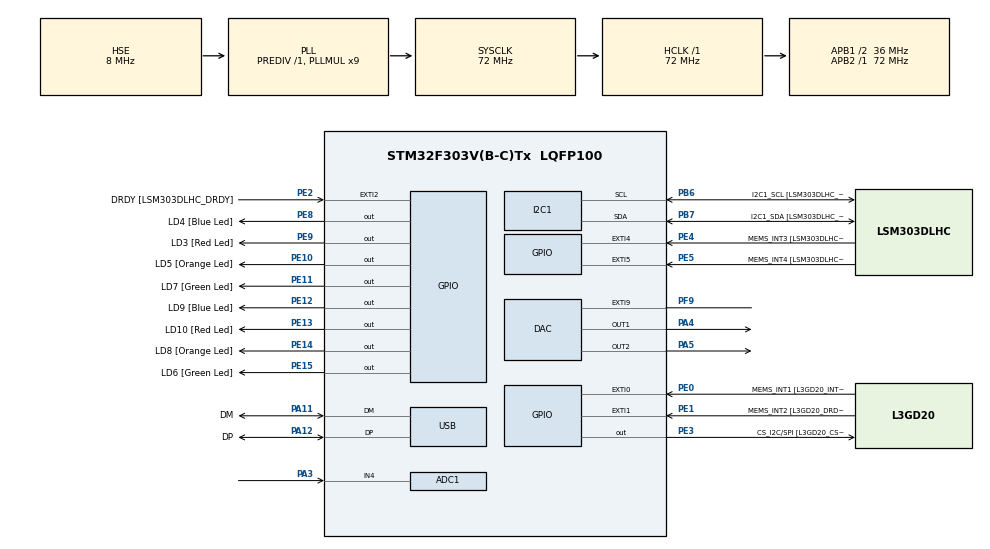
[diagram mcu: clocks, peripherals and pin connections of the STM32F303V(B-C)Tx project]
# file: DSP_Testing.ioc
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ADC1.Channel-9\#ChannelRegularConversion=ADC_CHANNEL_4
ADC1.ContinuousConvMode=DISABLE
ADC1.DMAContinuousRequests=ENABLE
ADC1.EnableAnalogWatchDog1=false
ADC1.EnableInjectedConversion=DISABLE
ADC1.ExternalTrigConv=ADC_EXTERNALTRIGCONV_T6_TRGO
ADC1.NbrOfConversion=1
ADC1.NbrOfConversionFlag=1
ADC1.Offset-9\#ChannelRegularConversion=0
ADC1.OffsetNumber-9\#ChannelRegularConversion=ADC_OFFSET_NONE
ADC1.Overrun=ADC_OVR_DATA_OVERWRITTEN
ADC1.Rank-9\#ChannelRegularConversion=1
ADC1.SamplingTime-9\#ChannelRegularConversion=ADC_SAMPLETIME_1CYCLE_5
ADC1.master=1
DAC.DAC_OutputBuffer2=DAC_OUTPUTBUFFER_DISABLE
DAC.DAC_Trigger=DAC_TRIGGER_T6_TRGO
DAC.DAC_Trigger2=DAC_TRIGGER_T6_TRGO
DAC.WaveGeneration=DISABLE
Dma.ADC1.0.Direction=DMA_PERIPH_TO_MEMORY
Dma.ADC1.0.Instance=DMA1_Channel1
Dma.ADC1.0.MemDataAlignment=DMA_MDATAALIGN_WORD
Dma.ADC1.0.MemInc=DMA_MINC_ENABLE
Dma.ADC1.0.Mode=DMA_CIRCULAR
Dma.ADC1.0.PeriphDataAlignment=DMA_PDATAALIGN_WORD
Dma.ADC1.0.PeriphInc=DMA_PINC_DISABLE
Dma.ADC1.0.Priority=DMA_PRIORITY_HIGH
Dma.DAC_CH1.1.Direction=DMA_MEMORY_TO_PERIPH
Dma.DAC_CH1.1.Instance=DMA1_Channel3
Dma.DAC_CH1.1.MemDataAlignment=DMA_MDATAALIGN_WORD
Dma.DAC_CH1.1.MemInc=DMA_MINC_ENABLE
Dma.DAC_CH1.1.Mode=DMA_CIRCULAR
Dma.DAC_CH1.1.PeriphDataAlignment=DMA_PDATAALIGN_WORD
Dma.DAC_CH1.1.PeriphInc=DMA_PINC_DISABLE
Dma.DAC_CH1.1.Priority=DMA_PRIORITY_HIGH
Dma.DAC_CH2.2.Direction=DMA_MEMORY_TO_PERIPH
Dma.DAC_CH2.2.Instance=DMA1_Channel4
Dma.DAC_CH2.2.MemDataAlignment=DMA_MDATAALIGN_WORD
Dma.DAC_CH2.2.MemInc=DMA_MINC_ENABLE
Dma.DAC_CH2.2.Mode=DMA_CIRCULAR
Dma.DAC_CH2.2.PeriphDataAlignment=DMA_PDATAALIGN_WORD
Dma.DAC_CH2.2.PeriphInc=DMA_PINC_DISABLE
Dma.DAC_CH2.2.Priority=DMA_PRIORITY_HIGH
Dma.Request0=ADC1
Dma.Request1=DAC_CH1
Dma.Request2=DAC_CH2
I2C1.Timing=0x00201D2B
I2C1.Timing-I2C=0x2000090E
Mcu.Family=STM32F3
Mcu.Name=STM32F303V(B-C)Tx
Mcu.Package=LQFP100
NVIC.DMA1_Channel1_IRQn=true\:0\:0\:false\:false\:true\:false\:true\:true
NVIC.DMA1_Channel3_IRQn=true\:0\:0\:false\:false\:true\:false\:true\:true
NVIC.DMA1_Channel4_IRQn=true\:0\:0\:false\:false\:true\:false\:true\:true
NVIC.PriorityGroup=NVIC_PRIORITYGROUP_0
PA11.GPIO_Label=DM
PA11.Mode=Device
PA11.Signal=USB_DM
PA12.GPIO_Label=DP
PA12.Mode=Device
PA12.Signal=USB_DP
PA13.GPIO_Label=SWDIO
PA13.Mode=Serial_Wire
PA13.Signal=SYS_JTMS-SWDIO
PA14.GPIO_Label=SWCLK
PA14.Mode=Serial_Wire
PA14.Signal=SYS_JTCK-SWCLK
PA3.Mode=IN4-Single-Ended
PA3.Signal=ADC1_IN4
PA4.Signal=COMP_DAC1_group
PA5.Signal=COMP_DAC2_group
PA7.GPIO_Label=SPI1_MISO [L3GD20_SDA/SDI/SDO]
PA7.Signal=SPI1_MOSI
PB3.GPIO_Label=SWO
PB3.Signal=SYS_JTDO-TRACESWO
PB6.GPIO_Label=I2C1_SCL [LSM303DLHC_SCL]
PB6.GPIO_Pu=GPIO_PULLUP
PB6.Mode=I2C
PB6.Signal=I2C1_SCL
PB7.GPIO_Label=I2C1_SDA [LSM303DLHC_SDA]
PB7.GPIO_Pu=GPIO_PULLUP
PB7.Mode=I2C
PB7.Signal=I2C1_SDA
PC14-OSC32_IN.Mode=LSE-External-Oscillator
PC14-OSC32_IN.Signal=RCC_OSC32_IN
PC15-OSC32_OUT.GPIO_Label=OSC32_OUT
PC15-OSC32_OUT.Mode=LSE-External-Oscillator
PC15-OSC32_OUT.Signal=RCC_OSC32_OUT
PE0.GPIO_Label=MEMS_INT1 [L3GD20_INT1]
PE0.GPIO_ModeDefaultEXTI=GPIO_MODE_EVT_RISING
PE0.Signal=GPXTI0
PE1.GPIO_Label=MEMS_INT2 [L3GD20_DRDY/INT2]
PE1.GPIO_ModeDefaultEXTI=GPIO_MODE_EVT_RISING
PE1.Signal=GPXTI1
PE10.GPIO_Label=LD5 [Orange Led]
PE10.Signal=GPIO_Output
PE11.GPIO_Label=LD7 [Green Led]
PE11.Signal=GPIO_Output
PE12.GPIO_Label=LD9 [Blue Led]
PE12.Signal=GPIO_Output
PE13.GPIO_Label=LD10 [Red Led]
PE13.Signal=GPIO_Output
PE14.GPIO_Label=LD8 [Orange Led]
PE14.Signal=GPIO_Output
PE15.GPIO_Label=LD6 [Green Led]
PE15.Signal=GPIO_Output
PE2.GPIO_Label=DRDY [LSM303DLHC_DRDY]
PE2.GPIO_ModeDefaultEXTI=GPIO_MODE_EVT_RISING
PE2.Signal=GPXTI2
PE3.GPIO_Label=CS_I2C/SPI [L3GD20_CS_I2C/SPI]
PE3.Signal=GPIO_Output
PE4.GPIO_Label=MEMS_INT3 [LSM303DLHC_INT1]
PE4.GPIO_ModeDefaultEXTI=GPIO_MODE_EVT_RISING
PE4.Signal=GPXTI4
PE5.GPIO_Label=MEMS_INT4 [LSM303DLHC_INT2]
PE5.GPIO_ModeDefaultEXTI=GPIO_MODE_EVT_RISING
PE5.Signal=GPXTI5
PE8.GPIO_Label=LD4 [Blue Led]
PE8.Signal=GPIO_Output
PE9.GPIO_Label=LD3 [Red Led]
PE9.Signal=GPIO_Output
PF0-OSC_IN.GPIO_Label=OSC_IN
PF0-OSC_IN.Mode=HSE-External-Clock-Source
PF0-OSC_IN.Signal=RCC_OSC_IN
PF1-OSC_OUT.GPIO_Label=OSC_OUT
PF1-OSC_OUT.Signal=RCC_OSC_OUT
PF9.Signal=GPXTI9
ProjectManager.HeapSize=0x200
ProjectManager.StackSize=0x400
ProjectManager.TargetToolchain=STM32CubeIDE
RCC.AHBFreq_Value=72000000
RCC.APB1CLKDivider=RCC_HCLK_DIV2
RCC.APB1Freq_Value=36000000
RCC.APB1TimFreq_Value=72000000
RCC.APB2Freq_Value=72000000
RCC.APB2TimFreq_Value=72000000
RCC.CortexFreq_Value=72000000
RCC.HCLKFreq_Value=72000000
RCC.HSE_VALUE=8000000
RCC.HSI_VALUE=8000000
RCC.PLLMUL=RCC_PLL_MUL9
RCC.PRESCALERUSB=RCC_USBCLKSOURCE_PLL_DIV1_5
RCC.SYSCLKFreq_VALUE=72000000
RCC.SYSCLKSourceVirtual=RCC_SYSCLKSOURCE_PLLCLK
RCC.USBFreq_Value=48000000
SH.COMP_DAC1_group.0=DAC_OUT1,DAC_OUT1
SH.COMP_DAC2_group.0=DAC_OUT2,Enable_DAC_OUT2
STMicroelectronics.X-CUBE-ALGOBUILD.1.4.0.LibraryCcDSPOoLibraryJjDSPOoLibrary=true
TIM6.Period=3999
TIM6.TIM_MasterOutputTrigger=TIM_TRGO_UPDATE
VP_STMicroelectronics.X-CUBE-ALGOBUILD_VS_DSPOoLibraryJjLibrary_1.4.0_1.4.0.Mode=DSPOoLibraryJjLibrary
VP_TIM6_VS_ClockSourceINT.Mode=Enable_Timer
board=STM32F3DISCOVERY

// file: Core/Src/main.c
/* USER CODE BEGIN Header */
/**
  ******************************************************************************
  * @file           : main.c
  * @brief          : Main program body
  ******************************************************************************
  * @attention
  *
  * Copyright (c) 2024 STMicroelectronics.
  * All rights reserved.
  *
  * This software is licensed under terms that can be found in the LICENSE file
  * in the root directory of this software component.
  * If no LICENSE file comes with this software, it is provided AS-IS.
  *
  ******************************************************************************
  */
/* USER CODE END Header */
#include "main.h"
#include "adc.h"
#include "dac.h"
#include "dma.h"
#include "i2c.h"
#include "tim.h"
#include "usb.h"
#include "gpio.h"

/* USER CODE BEGIN Includes */
#include "EMA.h"
#include "notch.h"
#include "IIR.h"

/* USER CODE END Includes */

/* USER CODE BEGIN PV */
// # samples per data block(half buffer)
#define DATASIZE 128
// full buffer size
#define BUFFERSIZE DATASIZE * 2

//BUFFERS
uint32_t adc_vals[BUFFERSIZE]; //adc buffer
uint32_t alpha_vals[BUFFERSIZE]; //alpha buffer
uint32_t beta_vals[BUFFERSIZE]; //beta buffer
uint32_t gamma_vals[BUFFERSIZE]; //gamma buffer
uint8_t data_ready;

//debug signals
uint16_t check;

// pointers to the half of the buffer being processed
static volatile uint32_t* input_buffer_ptr;
static volatile uint32_t* alpha_buffer_ptr = &alpha_vals[0];
static volatile uint32_t* beta_buffer_ptr = &beta_vals[0];
static volatile uint32_t* gamma_buffer_ptr = &gamma_vals[0];

IIR1 high_8_1;
IIR1 high_8_2;
IIR1 high_8_3;

IIR1 low_12_1;
IIR1 low_12_2;
IIR1 low_12_3;

IIR2 high_12_1;
IIR2 high_12_2;

IIR2 low_30_1;
IIR2 low_30_2;

IIR2 high_30_1;
IIR2 high_30_2;

IIR2 low_100_1;
IIR2 low_100_2;

/* USER CODE END PV */

void SystemClock_Config(void);

/* USER CODE BEGIN 0 */

void HAL_ADC_ConvHalfCpltCallback(ADC_HandleTypeDef* hadc)
{
	input_buffer_ptr = &adc_vals[0];

	alpha_buffer_ptr = &alpha_vals[0];
	beta_buffer_ptr = &beta_vals[0];
	gamma_buffer_ptr = &gamma_vals[0];

	data_ready = 1;
}

void HAL_ADC_ConvCpltCallback(ADC_HandleTypeDef* hadc)
{
	input_buffer_ptr = &adc_vals[DATASIZE];

	alpha_buffer_ptr = &alpha_vals[DATASIZE];
	beta_buffer_ptr = &beta_vals[DATASIZE];
	gamma_buffer_ptr = &gamma_vals[DATASIZE];

	data_ready = 1;
}

void DSP(){

	float in8high;
	float out8high;

//	float in12low;
	float out12low;

	float in12high;
	float out12high;

//	float in30low;
	float out30low;

	float in30high;
	float out30high;

//	float in100low;
	float out100low;

	for(int i = 0; i < DATASIZE; i++){
		in8high = (float) (input_buffer_ptr[i]);
//		in12low = (float) (input_buffer_ptr[i]);
		in12high = (float) (input_buffer_ptr[i]);
//		in30low = (float) (input_buffer_ptr[i]);
		in30high = (float) (input_buffer_ptr[i]);
//		in100low = (float) (input_buffer_ptr[i]);

		out8high = IIR1_Update(&high_8_1, in8high);
		out8high = IIR1_Update(&high_8_2, out8high);
		out8high = IIR1_Update(&high_8_3, out8high) + 1500;

		out12low = IIR1_Update(&low_12_1, out8high);
		out12low = IIR1_Update(&low_12_2, out12low);
		out12low = IIR1_Update(&low_12_3, out12low);
		out12low *= 1.5;

		out12high = IIR2_Update(&high_12_1, in12high);
		out12high = IIR2_Update(&high_12_2, out12high) + 1500;
		out12high *= 1.1;

		out30low = IIR2_Update(&low_30_1, out12high);
		out30low = IIR2_Update(&low_30_2, out30low);

		out30high = IIR2_Update(&high_30_1, in30high);
		out30high = IIR2_Update(&high_30_2, out30high) + 1700;

		out100low = IIR2_Update(&low_100_1, out30high);
		out100low = IIR2_Update(&low_100_2, out100low) * 1.5;

		alpha_buffer_ptr[i] = (uint32_t) (out12low);
		beta_buffer_ptr[i] = (uint32_t) (out30low);
		gamma_buffer_ptr[i] = (uint32_t) (out100low);
	}
	data_ready = 0;
}

/* USER CODE END 0 */

int main(void)
{

  /* MCU Configuration--------------------------------------------------------*/

  /* Reset of all peripherals, Initializes the Flash interface and the Systick. */
  HAL_Init();

  /* Configure the system clock */
  SystemClock_Config();

  /* Initialize all configured peripherals */
  MX_GPIO_Init();
  MX_DMA_Init();
  MX_I2C1_Init();
  MX_USB_PCD_Init();
  MX_ADC1_Init();
  MX_DAC_Init();
  MX_TIM6_Init();
  /* USER CODE BEGIN 2 */
  // START TIME BASE AND DMA CHANNELS
  HAL_TIM_Base_Start(&htim6);
  HAL_ADC_Start_DMA(&hadc1, (uint32_t *) adc_vals, BUFFERSIZE);
  HAL_DAC_Start_DMA(&hdac, DAC_CHANNEL_1, (uint32_t *) gamma_vals, BUFFERSIZE, DAC_ALIGN_12B_R);
  HAL_DAC_Start_DMA(&hdac, DAC_CHANNEL_2, (uint32_t *) alpha_vals, BUFFERSIZE, DAC_ALIGN_12B_R);
  // INIT FILTERS
  // 8 Hz High
  IIR1_Init(&high_8_1, -0.9986, 0.9993, -0.9993);
  IIR1_Init(&high_8_2, -0.9986, 0.9993, -0.9993);
  IIR1_Init(&high_8_3, -0.9986, 0.9993, -0.9993);

  // 12 Hz low
  IIR1_Init(&low_12_1, -0.9925, 0.0038, 0.0038);
  IIR1_Init(&low_12_2, -0.9864, 0.0068, 0.0068);
  IIR1_Init(&low_12_3, -0.9898, 0.0051, 0.0051);

  // 12 Hz High
  IIR2_Init(&high_12_1, -1.9961, 0.9961, 0.9422, -1.8844, 0.9422);
  IIR2_Init(&high_12_2, -1.9990, 0.9990, 0.9221, -1.8442, 0.9221);

  // 30 Hz low
  IIR2_Init(&low_30_1, -1.9917, 0.9919, 0.5601, -1.1200, 0.5601);
  IIR2_Init(&low_30_2, -1.9879, 0.9881, 0.3144, -0.6286, 0.3144);

  // 30 Hz High
  IIR2_Init(&high_30_1, -1.9901, 0.9902, 0.9394, -1.8788, 0.9394);
  IIR2_Init(&high_30_2, -1.9863, 0.9865, 0.9163, -1.8326, 0.9163);

  // 100 Hz Low
  IIR2_Init(&low_100_1, -1.9626, 0.9645, 0.4390, -0.8762, 0.4390);
  IIR2_Init(&low_100_2, -1.9804, 0.9824, 0.9145, -1.8270, 0.9145);

  // a1, a2, b1, b2, b3
  /* USER CODE END 2 */

  /* Infinite loop */
  /* USER CODE BEGIN WHILE */
  while (1)
  {
	  if(data_ready){
		  DSP();
	  }
    /* USER CODE END WHILE */

  }
}

void SystemClock_Config(void)
{
  RCC_OscInitTypeDef RCC_OscInitStruct = {0};
  RCC_ClkInitTypeDef RCC_ClkInitStruct = {0};
  RCC_PeriphCLKInitTypeDef PeriphClkInit = {0};

  /** Initializes the RCC Oscillators according to the specified parameters
  * in the RCC_OscInitTypeDef structure.
  */
  RCC_OscInitStruct.OscillatorType = RCC_OSCILLATORTYPE_HSI|RCC_OSCILLATORTYPE_HSE;
  RCC_OscInitStruct.HSEState = RCC_HSE_BYPASS;
  RCC_OscInitStruct.HSEPredivValue = RCC_HSE_PREDIV_DIV1;
  RCC_OscInitStruct.HSIState = RCC_HSI_ON;
  RCC_OscInitStruct.HSICalibrationValue = RCC_HSICALIBRATION_DEFAULT;
  RCC_OscInitStruct.PLL.PLLState = RCC_PLL_ON;
  RCC_OscInitStruct.PLL.PLLSource = RCC_PLLSOURCE_HSE;
  RCC_OscInitStruct.PLL.PLLMUL = RCC_PLL_MUL9;
  if (HAL_RCC_OscConfig(&RCC_OscInitStruct) != HAL_OK)
  {
    Error_Handler();
  }

  /** Initializes the CPU, AHB and APB buses clocks
  */
  RCC_ClkInitStruct.ClockType = RCC_CLOCKTYPE_HCLK|RCC_CLOCKTYPE_SYSCLK
                              |RCC_CLOCKTYPE_PCLK1|RCC_CLOCKTYPE_PCLK2;
  RCC_ClkInitStruct.SYSCLKSource = RCC_SYSCLKSOURCE_PLLCLK;
  RCC_ClkInitStruct.AHBCLKDivider = RCC_SYSCLK_DIV1;
  RCC_ClkInitStruct.APB1CLKDivider = RCC_HCLK_DIV2;
  RCC_ClkInitStruct.APB2CLKDivider = RCC_HCLK_DIV1;

  if (HAL_RCC_ClockConfig(&RCC_ClkInitStruct, FLASH_LATENCY_2) != HAL_OK)
  {
    Error_Handler();
  }
  PeriphClkInit.PeriphClockSelection = RCC_PERIPHCLK_USB|RCC_PERIPHCLK_I2C1
                              |RCC_PERIPHCLK_ADC12;
  PeriphClkInit.Adc12ClockSelection = RCC_ADC12PLLCLK_DIV1;
  PeriphClkInit.I2c1ClockSelection = RCC_I2C1CLKSOURCE_HSI;
  PeriphClkInit.USBClockSelection = RCC_USBCLKSOURCE_PLL_DIV1_5;
  if (HAL_RCCEx_PeriphCLKConfig(&PeriphClkInit) != HAL_OK)
  {
    Error_Handler();
  }
}

void Error_Handler(void)
{
  __disable_irq();
  while (1)
  {
  }
}
